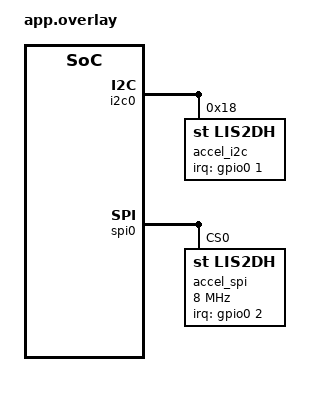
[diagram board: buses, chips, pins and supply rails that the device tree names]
/*
 * Copyright The Zephyr Project Contributors
 * SPDX-License-Identifier: Apache-2.0
 */

&i2c0 {
	status = "okay";

	accel_i2c: accelerometer@18 {
		compatible = "st,lis2dh";
		reg = <0x18>;
		irq-gpios = <&gpio0 1 GPIO_ACTIVE_HIGH>;
		fifo-watermark = <16>;
	};
};

&spi0 {
	status = "okay";

	accel_spi: accelerometer@0 {
		compatible = "st,lis2dh";
		reg = <0>;
		spi-max-frequency = <8000000>;
		irq-gpios = <&gpio0 2 GPIO_ACTIVE_HIGH>;
		fifo-watermark = <16>;
	};
};
